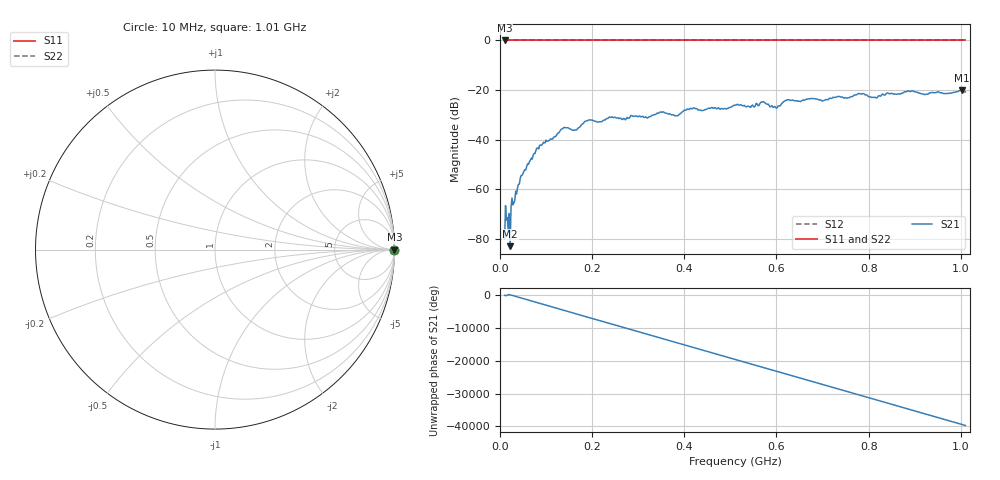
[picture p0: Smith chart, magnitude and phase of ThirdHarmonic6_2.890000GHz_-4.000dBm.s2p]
! 8/17/2025 7:57:10 AM
! C:\ANRITSUVNA\TEMP\TEMP.S2P
! CHANNEL.1
! TR.MEASUREMENT
! RAW.DATA
! RF.CORRECTION.OFF
! AVERAGING.OFF
! IF.BANDWIDTH: 5KHZ
! SWEEPTYPE:  FREQ.SWEEP(Linear)
! Reference Plane Port Info
! PORT:  PORT1  PORT2
! DISTANCE:  0  m  0  m
! TIME:  0  s  0  s
! PHASE.OFFSET:  0  deg.  0  deg.
! LOSS:  0  dB  0  dB
! REF.LOSS:  0  dB  0  dB
! REF.FREQ:  0  Hz  0  Hz
! Power Info
! POWER:  -20  dBm  -20  dBm
! EFF.POWER:  -20  dBm  -20  dBm
! SOURCE.ATTEN:  0  dB  0  dB
! TEST.ATTEN:  0  dB  0  dB
# GHZ S RI R 50.0
! FREQ.GHZ  S11RE  S11IM  S21RE  S21IM  S12RE  S12IM  S22RE  S22IM
!; PortSelection: Port_12
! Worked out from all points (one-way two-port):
!   501 points, 10 MHz to 1.01 GHz, reference 50 ohm
!   highest |S21| = -20.13 dB at 1.002 GHz (marker M1); lowest = -82.8 dB at 22 MHz (marker M2)
!   lowest |S11| = 0.0 dB at 10 MHz (marker M3)
!   |S11| at or under -10 dB: nowhere
!   |S22| runs from 0.0 to 0.0 dB; largest |S21 - S12| = 1.1
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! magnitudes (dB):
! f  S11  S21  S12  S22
! 10 MHz  0.0  -80.0  0.0  0.0
! 16 MHz  0.0  -71.3  0.0  0.0
! 18 MHz  0.0  -77.2  0.0  0.0
! 22 MHz  0.0  -82.8  0.0  0.0
! 28 MHz  0.0  -66.2  0.0  0.0
! 48 MHz  0.0  -54.3  0.0  0.0
! 82 MHz  0.0  -43.4  0.0  0.0
! 136 MHz  0.0  -35.5  0.0  0.0
! 162 MHz  0.0  -36.1  0.0  0.0
! 178 MHz  0.0  -33.8  0.0  0.0
! 344 MHz  0.0  -29.3  0.0  0.0
! 384 MHz  0.0  -30.4  0.0  0.0
! 410 MHz  0.0  -27.8  0.0  0.0
! 510 MHz  0.0  -26.1  0.0  0.0
! 570 MHz  0.0  -24.7  0.0  0.0
! 598 MHz  0.0  -26.9  0.0  0.0
! 622 MHz  0.0  -24.0  0.0  0.0
! 678 MHz  0.0  -23.4  0.0  0.0
! 814 MHz  0.0  -22.9  0.0  0.0
! 844 MHz  0.0  -21.4  0.0  0.0
! 1.002 GHz  0.0  -20.1  0.0  0.0
! 1.01 GHz  0.0  -20.7  0.0  0.0
